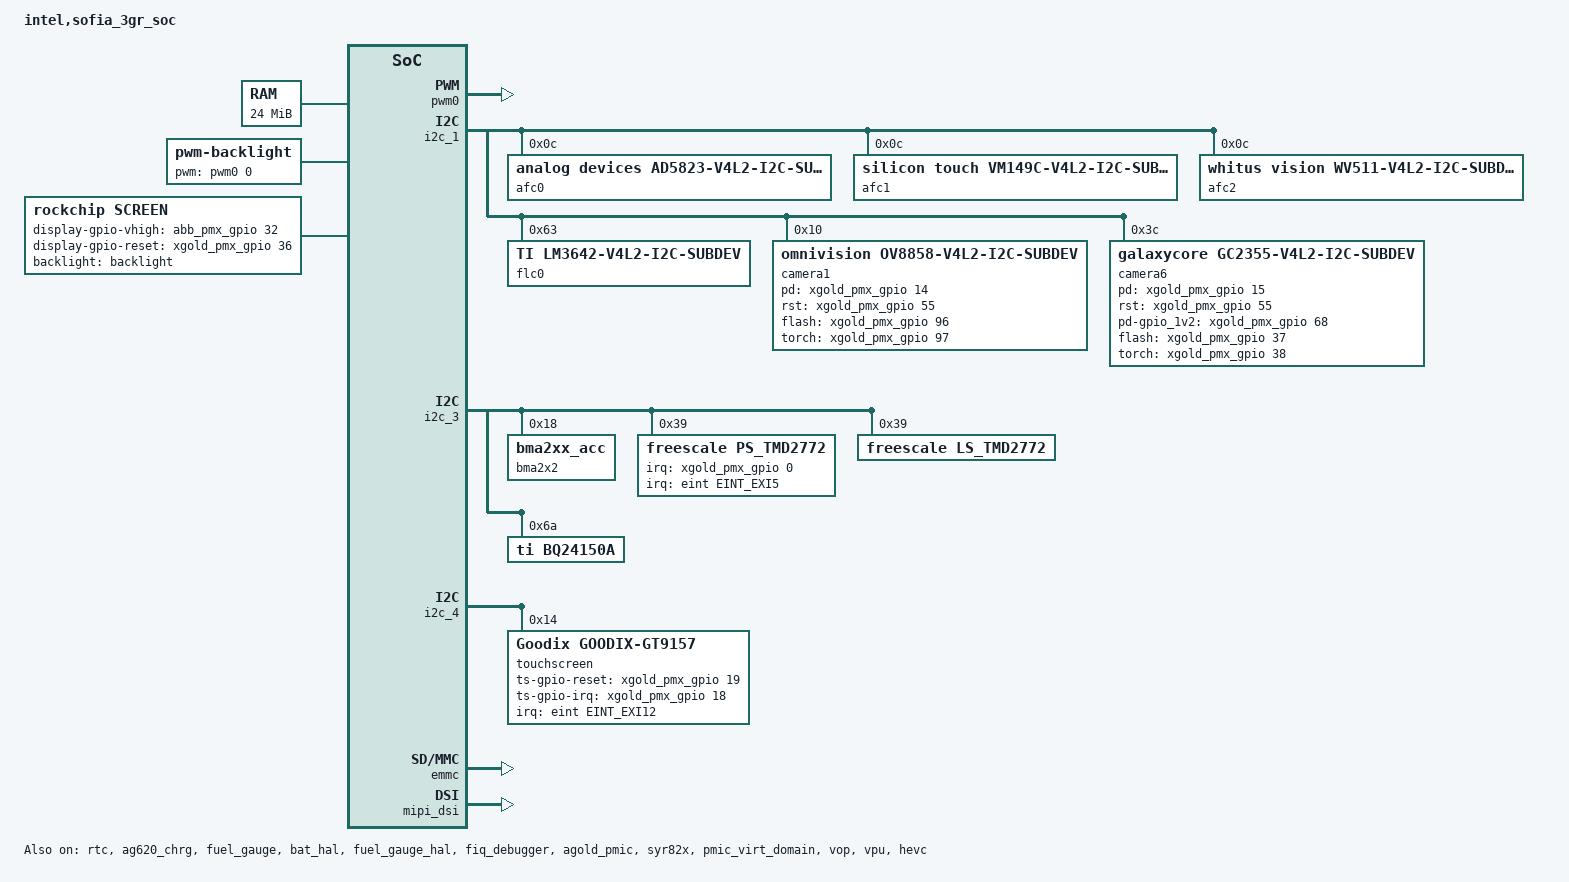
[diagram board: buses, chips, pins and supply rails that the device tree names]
/dts-v1/;


#include "xgold/sofia_3gr_soc/irq.h"
#include <dt-bindings/sensor-dev.h>
#include <dt-bindings/sofiafb/sofia_fb.h>

/ {
	#address-cells = <1>;
	#size-cells = <1>;
	model = "intel,sofia_3gr_soc";
	compatible = "intel,sofia_3gr_soc-svb", "intel,xgold";

	#include "xgold/sofia_3gr_soc/sofia_3gr_soc.dtsi"
	#include "xgold/sofia_3gr_soc/irq.dtsi"
	#include "xgold/mobilevisor/mobilevisor.dtsi"
	#include "xgold/sofia_3gr_soc/clock-es1.dtsi"
	#include "xgold/sofia_3gr_soc/regulator.dtsi"
	#include "xgold/sofia_3gr_soc/device-pm-reg.dtsi"
	#include "xgold/pmic/granite.dtsi"
	#include "xgold/sofia_3gr_soc/cpufreq.dtsi"
	#include "xgold/pmic/agold_pmic.dtsi"
	#include "xgold/pmic/syr82x.dtsi"
	#include "xgold/pmic/pmic_virt_domain.dtsi"
	chosen {
	};

	aliases {
	};

	memory {
		device_type = "memory";
		reg = <0x800000 0x1800000>;
	};

	reserved-memory {
		#address-cells = <1>;
		#size-cells = <1>;
		ranges;

		/* global autoconfigured region for contiguous allocations */
		cma_default_region: region@0 {
			size = <0x0A400000>;
			limit = <0x10000000>;
			linux,cma-default;
		};
	};

	vmodem {
		compatible = "intel,vmodem";
		reg = < 0x1D000000 0x02C00000 >;
	};

	ion {
		compatible = "rockchip,ion";
		#address-cells = <1>;
		#size-cells = <0>;
		cma-heap {
			memory-region = <&cma_default_region>;
			rockchip,ion_heap = <4>;
		};
		system-heap {
			rockchip,ion_heap = <0>;
		};
	};

	agold-keypad-bl {
		compatible = "intel,keypad-bl";
		reg = <0xE6501830 0x4>;
		default-brightness-level = <128>;
		status = "disabled";
	};
	
	backlight: pwm-backlight {
                compatible = "pwm-backlight";
		brightness-levels = <
			255 244 244 244 244 244 244 244 244 244 244 244 244 244 244 244 244 244 244 244
			244 244 244 244 243 243 242 242 241 241 240 240 239 239 238 238 237 237 236 236
			235 235 234 234 233 233 232 232 231 231 230 230 229 229 228 228 227 227 227 226
			226 226 225 225 225 224 224 224 223 223 223 222 222 222 221 221 221 220 220 220
			219 219 219 218 218 218 217 217 217 216 216 216 215 215 215 214 214 214 213 213
			213 212 212 212 211 211 211 210 210 210 209 209 209 208 208 208 207 207 207 206
			206 206 205 205 205 204 204 204 203 203 203 202 202 202 201 201 201 200 200 200
			199 199 199 198 198 198 197 197 197 196 196 196 195 195 195 194 194 194 193 193
			193 192 192 192 191 191 191 190 190 190 189 189 189 188 188 188 187 187 187 186
			186 186 185 185 185 184 184 184 183 183 183 182 182 182 181 181 181 180 180 180
			179 179 179 178 178 178 177 177 177 176 176 175 175 174 174 173 173 172 172 171
			171 170 170 169 169 168 168 167 167 166 166 165 165 164 164 163 163 162 162 161
			161 160 160 159 159 158 158 157 157 156 156 155 155 154 154 153>;

                default-brightness-level = <128>;
                /*enable-gpios = <&abb_pmx_gpio 32 0>;*/
                pinctrl-names = "default", "sleep", "inactive";
                pinctrl-0 = <&led_agold_default_pins>;
                pinctrl-1 = <&led_agold_sleep_pins>;
                pinctrl-2 = <&led_agold_inactive_pins>;
                pwms = <&pwm0 0 25000 PWM_POLARITY_INVERTED>;
        };
	hallsensor {
		compatible = "hall_och165t";
	  	interrupt-parent = <&eint>;
	  	interrupts = <EINT_EXI11 XGOLD_IRQ_TYPE_EDGE_FALLING>;
	  	pinctrl-names = "default", "sleep", "inactive";
	  	pinctrl-0 = <&hall_default_pins>;
	  	pinctrl-1 = <&hall_sleep_pins>;
	  	pinctrl-2 = <&hall_inactive_pins>;
		irq-gpio = <&xgold_pmx_gpio 32 IRQ_TYPE_LEVEL_LOW>;
		status = "disabled";
	};

	fb {
		compatible = "rockchip,fb";
		rockchip,disp-mode = <NO_DUAL>;
		rockchip,loader-logo-on = <1>;
		rockchip,ion-drv = "rockchip";
	};

	loader-charge {
		compatible = "rockchip,loader-charge";
		rockchip,loader-charge-on = <1>;
		rockchip,loader-weak-volt = <3550>;
		rockchip,loader-weak-volt-dcp = <3750>;
		rockchip,loader-weak-volt-sdp = <3600>;
		rockchip,android-charge-on = <1>;
	};

	screen {
		compatible = "rockchip,screen","intel,screen";
		pm,class-name = "generic_class";
		pm,user-name = "lcd";
		pm,state-D0 = "enable";
		pm,state-D3 = "disable";
		backlight = <&backlight>;
		intel,display-gpio-vhigh = <&abb_pmx_gpio 32 0>;
		intel,display-gpio-reset = <&xgold_pmx_gpio 36 0>;

		#include "xgold/display/lcd-mipi_otm1287a_auo_lp055apkp153a.dtsi"
	};

	chrg_det: chrg_det {
		compatible = "sofia,chrg_det";
		status = "okay";
		sofia,fuel_gauge = <&fuel_gauge>;
	};

#ifndef RECOVERY_KERNEL
	sound {
		compatible = "intel,xgold-snd-asoc";
		intel,audio-codec = < &afe >;
		intel,pcm-audio = <&pcm_music>;
		intel,pcm-voice = <&pcm_voice>;
		intel,speech = <&speech_probe>;
		intel,jack = <&headset>;
	};
#endif

};
&cpufreq {
	        intel,cpufreq-table-v1 = <416000 728000 900000 1040000>;
                intel,voltage-table-v1 = <950000 1100000 1150000 1200000>;
                intel,cpufreq-table-v2 = <416000 728000 800000  900000 1040000>;
                intel,voltage-table-v2 = <900000 1000000 1050000 1100000 1150000>;
};
&gpufreq {
	intel,gpufreq-table = <104000 312000 416000 416000>;
	intel,voltage-table = <1150000 1150000 1150000 1150000>;
};
&idi_per {
	#include "xgold/agold620/agold620.dtsi"
};
&rtc {
	status = "okay";
};
&ag620_chrg {
	status = "okay";
};
&fuel_gauge {
	status = "okay";
};
&bat_hal {
	status = "okay";
	#define BAT_TYPE_LC 0
	#define POWER_SUPPLY_TECHNOLOGY_LION 2

	supp_batids =  < 0 BAT_TYPE_LC >;

	supp_batids-map = "standrd";

	prof-standrd = < POWER_SUPPLY_TECHNOLOGY_LION /*battery_type*/
				  2100 /*capacity*/
				  4250 /*voltage_max*/
				  82 /*chrg_term_ma*/
				  3000 /*low_batt_mv*/
				  60 /*disch_tmp_ul*/
				  0xffffffec /*disch_tmp_ll (-20)*/
				  0 /*min_temp*/
				  3 /*min_temp_restart*/
				  42 /*max_temp_restart*/ >;

	prof-standrd-cap_to_vbat_ocv = <
		3521 3540 3592 3632 3656 3664 3666 3668 3669 3670
		3671 3673 3675 3679 3688 3696 3702 3709 3716 3720
		3723 3726 3729 3732 3736 3739 3742 3744 3746 3748
		3750 3754 3757 3759 3762 3763 3765 3767 3769 3771
		3774 3776 3779 3782 3784 3787 3790 3793 3797 3800
		3803 3807 3810 3812 3814 3820 3827 3834 3842 3848
		3855 3863 3870 3878 3887 3895 3903 3912 3921 3930
		3939 3949 3958 3968 3978 3988 3998 4008 4019 4029
		4039 4050 4061 4071 4082 4093 4103 4114 4124 4135
		4145 4156 4166 4176 4186 4196 4206 4215 4224 4233
		4242 >;


	prof-standrd-ntemp_ranges = <1>;

	prof-standrd-temp_range0 = < 45 /*max_temp*/
					     4160 /*full_chrg_vol*/
					     850 /*full_chrg_cur*/
					     98 /*charging_res_cap*/
					     4160 /*maint_chrg_vol_ul*/
					     850 /*maint_chrg_cur*/ >;

	nprofiles = <1>;
};
&brown_out {
	status = "okay";
};
&fuel_gauge_hal {
	status = "okay";
	sense_resistor_mohm = <20>;
	gain_error_1_uc_per_mc = <30>;
	gain_error_2_uc_per_mc = <30>;
};

&vibrator {
	loader_vibrator_time = <90>;
	loader_vibrator_intensity = <100>;
};

&abb_pmx_gpio {
       intel,gpiochip-base = <107>;
};

&usif1 {
	pinctrl-names = "default", "sleep", "inactive";
	pinctrl-0 = <&usif1_function_C_active_pins>;
	pinctrl-1 = <&usif1_function_C_sleep_pins>;
	pinctrl-2 = <&usif1_function_C_inactive_pins>;
	status = "disabled";
};

&usif2 {
	pinctrl-names = "default", "sleep", "inactive";
	pinctrl-0 = <&usif2_default_pins>;
	pinctrl-1 = <&usif2_sleep_pins>;
	pinctrl-2 = <&usif2_inactive_pins>;
	status = "disabled";
};

&fiq_debugger {
	status = "okay";
};

&pwm0 {
	pinctrl-names = "default", "sleep", "inactive";
	pinctrl-0 = <&pwm0_default_pins>;
	pinctrl-1 = <&pwm0_sleep_pins>;
	pinctrl-2 = <&pwm0_inactive_pins>;
	status = "okay";
};

/* xuhf@rock-chips.com: modify dts for Compatibling with a variety of cameras */
&i2c_1 {
	status = "okay";
	pinctrl-names = "default", "sleep", "inactive";
	pinctrl-0 = <&i2c1_default_pins>;
	pinctrl-1 = <&i2c1_sleep_pins>;
	pinctrl-2 = <&i2c1_inactive_pins>;

#ifndef RECOVERY_KERNEL
	afc0: af-controller@0 {
		//status = "disabled";
		compatible = "analog devices,ad5823-v4l2-i2c-subdev";
		reg = < 0x0C >;
	};

	afc1: af-controller@1 {
		//status = "disabled";
		compatible = "silicon touch,vm149C-v4l2-i2c-subdev";
		reg = < 0x0c >;
	};

	afc1: af-controller@1 {
		//status = "disabled";
		compatible = "silicon touch,vm149C-v4l2-i2c-subdev";
		reg = < 0x0c >;
	};

	afc2: af-controller@2 {
		//status = "disabled";
		compatible = "whitus vision,wv511-v4l2-i2c-subdev";
		reg = < 0x0C >;
	};
#endif

#ifndef RECOVERY_KERNEL
	flc0:fl-controller@0 {
		//status = "disabled";
		compatible = "TI,lm3642-v4l2-i2c-subdev";
		reg = < 0x63 >;
	};
#endif

#ifndef RECOVERY_KERNEL
	camera0: camera-module@0 {
		status = "disabled";
		compatible = "omnivision,ov13850-v4l2-i2c-subdev";
		reg = < 0x10 >;/*addr is 0x6C when SID set 0,else is 0x20*/ 
		device_type = "v4l2-i2c-subdev";

		pinctrl-names = "default", "sleep", "inactive";
		pinctrl-0 = <&cam1_default_pins>;
		pinctrl-1 = <&cam1_sleep_pins>;
		pinctrl-2 = <&cam1_inactive_pins>;

		intel,pd-gpio = <&xgold_pmx_gpio 14 0>;
		intel,pd-gpio-is_active_high;
		intel,rst-gpio = <&xgold_pmx_gpio 55 0>;
		intel,rst-gpio-is_active_high;
		intel,flash-gpio = <&xgold_pmx_gpio 96 0>;
		intel,torch-gpio = <&xgold_pmx_gpio 97 0>;

		pm,class-name = "generic_class";
		pm,user-name = "primcam";
		pm,state-D0 = "enable";
		pm,state-D3 = "disable";


		intel,camera-module-facing = "back";
		intel,camera-module-mounting = "landscape";
		intel,camera-module-flash-support = <1>;
		intel,camera-module-flash-exp-time = <5000>;

		//intel,af-ctrl = <&afc0>;
		intel,camera-module-csi-config-0 {
			intel,csi-pixels-per-second = <0>;
			intel,csi-vc = <0>;
			intel,csi-lanes = <2>;
			intel,csi-dphy1 = <0x2014203>;
			intel,csi-dphy2 = <0x00>;
			intel,csi-ana-bandgap-bias = <3>;
			intel,csi-used = <0>;
		};
		intel,camera-module-csi-config-1 {
			intel,csi-pixels-per-second = <100000000>;
			intel,csi-vc = <0>;
			intel,csi-lanes = <4>;
			intel,csi-dphy1 = <0x600e241>;
			intel,csi-dphy2 = <0x00>;
			intel,csi-ana-bandgap-bias = <3>;
			intel,csi-used = <0>;
		};
	};
#endif

#ifndef RECOVERY_KERNEL
	camera1: camera-module@1 {
		//status = "disabled";
		compatible = "omnivision,OV8858-v4l2-i2c-subdev";
		reg = < 0x10 >;/*addr is 0x6C when SID set 0,else is 0x20*/
		device_type = "v4l2-i2c-subdev";

		pinctrl-names = "default", "sleep", "inactive";
		pinctrl-0 = <&cam1_default_pins>;
		pinctrl-1 = <&cam1_sleep_pins>;
		pinctrl-2 = <&cam1_inactive_pins>;

		intel,pd-gpio = <&xgold_pmx_gpio 14 0>;
		intel,pd-gpio-is_active_high;
		intel,rst-gpio = <&xgold_pmx_gpio 55 0>;
		intel,rst-gpio-is_active_high;
		intel,flash-gpio = <&xgold_pmx_gpio 96 0>;
		intel,torch-gpio = <&xgold_pmx_gpio 97 0>;
		intel.flash-driver = "SGM3141";
		/*intel.flash-driver = "LM3642";*/
		/*intel,fl-ctrl = <&flc0>;*/
		

		pm,class-name = "generic_class";
		pm,user-name = "primcam";
		pm,state-D0 = "enable";
		pm,state-D3 = "disable";

		intel,camera-module-facing = "back";
		intel,camera-module-mounting = "landscape";
		intel,camera-module-flash-support = <1>;
		intel,camera-module-flash-exp-time = <5000>;
		rockchip,camera-module-name = "cmk-cb0832-fv3";
		rockchip,camera-module-len-name = "lg40100a1";

		intel,af-ctrl = <&afc1>;
		intel,camera-module-csi-config-0 {
			intel,csi-pixels-per-second = <0>;
			intel,csi-vc = <0>;
			intel,csi-lanes = <4>;
			intel,csi-dphy1 = <0x610a203>;
			intel,csi-dphy2 = <0x00>;
			intel,csi-ana-bandgap-bias = <3>;
			intel,csi-used = <0>;
		};
	};
#endif

#ifndef RECOVERY_KERNEL
	camera2: camera-module@2 {
		status = "disabled";
		compatible = "omnivision,OV5648-v4l2-i2c-subdev";
		reg = < 0x36 >;/*addr is 0x6C when SID set 0,else is 0x20*/
		device_type = "v4l2-i2c-subdev";

		pinctrl-names = "default", "sleep", "inactive";
		pinctrl-0 = <&cam1_default_pins>;
		pinctrl-1 = <&cam1_sleep_pins>;
		pinctrl-2 = <&cam1_inactive_pins>;

		intel,pd-gpio = <&xgold_pmx_gpio 14 0>;
		intel,pd-gpio-is_active_high;
		intel,rst-gpio = <&xgold_pmx_gpio 55 0>;
		intel,rst-gpio-is_active_high;
		intel,flash-gpio = <&xgold_pmx_gpio 96 0>;
		intel,torch-gpio = <&xgold_pmx_gpio 97 0>;

		pm,class-name = "generic_class";
		pm,user-name = "primcam";
		pm,state-D0 = "enable";
		pm,state-D3 = "disable";

		intel,camera-module-facing = "back";
		intel,camera-module-mounting = "landscape";
		intel,camera-module-flash-support = <1>;
		intel,camera-module-flash-exp-time = <5000>;
		rockchip,camera-module-name = "cmk-cw1581-fv3";
		rockchip,camera-module-len-name = "m5001a";

		intel,af-ctrl = <&afc1>;
		intel,camera-module-csi-config-0 {
			intel,csi-pixels-per-second = <0>;
			intel,csi-vc = <0>;
			intel,csi-lanes = <2>;
			intel,csi-dphy1 = <0x6208203>;
			intel,csi-dphy2 = <0x00>;
			intel,csi-ana-bandgap-bias = <3>;
			intel,csi-used = <0>;
		};
	};
#endif

#ifndef RECOVERY_KERNEL
	camera3: camera-module@3 {
		status = "disabled";
		compatible = "superpix,sp2508-v4l2-i2c-subdev";
		reg = < 0x3c >;
		device_type = "v4l2-i2c-subdev";

		pinctrl-names = "default", "sleep", "inactive";
		pinctrl-0 = <&cam1_default_pins>;
		pinctrl-1 = <&cam1_sleep_pins>;
		pinctrl-2 = <&cam1_inactive_pins>;

		intel,pd-gpio = <&xgold_pmx_gpio 14 0>;
		intel,pd-gpio_1v2 = <&xgold_pmx_gpio 68 0>;
		intel,pd-gpio-is_active_low;
		intel,rst-gpio = <&xgold_pmx_gpio 55 0>;
		intel,rst-gpio-is_active_low;
		intel,flash-gpio = <&xgold_pmx_gpio 37 0>;
		intel,torch-gpio = <&xgold_pmx_gpio 38 0>;
		intel.flash-driver = "FP6773C";

		pm,class-name = "generic_class";
		pm,user-name = "primcam";
		pm,state-D0 = "enable";
		pm,state-D3 = "disable";

		/* ["front","back"] */
		intel,camera-module-facing = "back";
		/* ["landscape","landscape-flipped","portrait","portrait-flipped"] */
		intel,camera-module-mounting = "landscape";
		intel,camera-module-flash-support = <1>;
		intel,camera-module-flash-exp-time = <5000>;

		intel,camera-module-csi-config-0 {
			intel,csi-pixels-per-second = <0>;
			intel,csi-vc = <0>;
			intel,csi-lanes = <1>;
			intel,csi-dphy1 = <0x608a241>;
			intel,csi-dphy2 = <0x00>;
			intel,csi-ana-bandgap-bias = <3>;
			intel,csi-used = <0>;
		};
	};
#endif

#ifndef RECOVERY_KERNEL
	camera4: camera-module@4 {
		status = "disabled";
		compatible = "galaxycore,gc2155-v4l2-i2c-subdev";
		reg = < 0x3C >;/*addr is 0x6C when SID set 0,else is 0x20*/ 
		device_type = "v4l2-i2c-subdev";
		pinctrl-names = "default", "sleep", "inactive";
		pinctrl-0 = <&cam1_default_pins>;
		pinctrl-1 = <&cam1_sleep_pins>;
		pinctrl-2 = <&cam1_inactive_pins>;

		intel,pd-gpio = <&xgold_pmx_gpio 14 0>;
		intel,pd-gpio-is_active_low;
		intel,rst-gpio = <&xgold_pmx_gpio 55 0>;
		intel,rst-gpio-is_active_high;
		//intel,pd-gpio_1v2 = <&xgold_pmx_gpio 68 0>;
		intel,flash-gpio = <&xgold_pmx_gpio 37 0>;
		intel,torch-gpio = <&xgold_pmx_gpio 38 0>;

		pm,class-name = "generic_class";
		pm,user-name = "primcam";
		pm,state-D0 = "enable";
		pm,state-D3 = "disable";

		/* ["front","back"] */
		intel,camera-module-facing = "back";
		/* ["landscape","landscape-flipped","portrait","portrait-flipped"] */
		intel,camera-module-mounting = "landscape";
		intel,camera-module-flash-support = <1>;
		intel,camera-module-flash-exp-time = <5000>;

		intel,camera-module-csi-config-0 {
			intel,csi-pixels-per-second = <0>;
			intel,csi-vc = <0>;
			intel,csi-lanes = <2>;
			intel,csi-dphy1 = <0x2014203>;
			intel,csi-dphy2 = <0x00>;
			intel,csi-ana-bandgap-bias = <3>;
			intel,csi-used = <0>;
		};
		intel,camera-module-csi-config-1 {
			intel,csi-pixels-per-second = <100000000>;
			intel,csi-vc = <0>;
			intel,csi-lanes = <4>;
			intel,csi-dphy1 = <0x600e241>;
			intel,csi-dphy2 = <0x00>;
			intel,csi-ana-bandgap-bias = <3>;
			intel,csi-used = <0>;
		};
	};
#endif

#ifndef RECOVERY_KERNEL
	camera5: camera-module@5 {
		status = "disabled";
		compatible = "omnivision,ov2680-v4l2-i2c-subdev";
		reg = < 0x36 >;/*addr is 0x6C when SID set 0,else is 0x20*/
		device_type = "v4l2-i2c-subdev";

		pinctrl-names = "default", "sleep", "inactive";
		pinctrl-0 = <&cam2_default_pins>;
		pinctrl-1 = <&cam2_sleep_pins>;
		pinctrl-2 = <&cam2_inactive_pins>;

		intel,pd-gpio = <&xgold_pmx_gpio 15 0>;
		intel,pd-gpio-is_active_high;
		intel,rst-gpio = <&xgold_pmx_gpio 55 0>;
		intel,rst-gpio-is_active_high;

		pm,class-name = "generic_class";
		pm,user-name = "seccam";
		pm,state-D0 = "enable";
		pm,state-D3 = "disable";

		intel,camera-module-facing = "front";
		intel,camera-module-mounting = "landscape";
		intel,camera-module-flash-support = <1>;
		intel,camera-module-flash-exp-time = <5000>;
		rockchip,camera-module-name = "cmk-cb0695-fv1";
		rockchip,camera-module-len-name = "cht835b";

		intel,camera-module-csi-config-0 {
			intel,csi-pixels-per-second = <0>;
			intel,csi-vc = <0>;
			intel,csi-lanes = <1>;
			intel,csi-dphy1 = <0x6284203>;
			intel,csi-dphy2 = <0x00>;
			intel,csi-ana-bandgap-bias = <3>;
			intel,csi-used = <1>;
		};

	};
#endif

#ifndef RECOVERY_KERNEL
	camera6: camera-module@6 {
		//status = "disabled";
		compatible = "galaxycore,gc2355-v4l2-i2c-subdev";
		reg = < 0x3C >;/*addr is 0x6C when SID set 0,else is 0x20*/
		device_type = "v4l2-i2c-subdev";
		pinctrl-names = "default", "sleep", "inactive";
		pinctrl-0 = <&cam2_default_pins>;
		pinctrl-1 = <&cam2_sleep_pins>;
		pinctrl-2 = <&cam2_inactive_pins>;

		intel,pd-gpio = <&xgold_pmx_gpio 15 0>;
		intel,pd-gpio-is_active_low;
		intel,rst-gpio = <&xgold_pmx_gpio 55 0>;
		intel,rst-gpio-is_active_high;
		intel,pd-gpio_1v2 = <&xgold_pmx_gpio 68 0>;
		intel,flash-gpio = <&xgold_pmx_gpio 37 0>;
		intel,torch-gpio = <&xgold_pmx_gpio 38 0>;

		pm,class-name = "generic_class";
		pm,user-name = "seccam";
		pm,state-D0 = "enable";
		pm,state-D3 = "disable";

		/* ["front","back"] */
		intel,camera-module-facing = "front";
		/* ["landscape","landscape-flipped","portrait","portrait-flipped"] */
		intel,camera-module-mounting = "landscape";
		intel,camera-module-flash-support = <1>;
		intel,camera-module-flash-exp-time = <5000>;
		rockchip,camera-module-name = "hrx4769x5c211";
		rockchip,camera-module-len-name = "m206a-201";

		intel,camera-module-csi-config-0 {
			intel,csi-pixels-per-second = <0>;
			intel,csi-vc = <0>;
			intel,csi-lanes = <1>;
			intel,csi-dphy1 = <0x6210203>;
			intel,csi-dphy2 = <0x00>;
			intel,csi-ana-bandgap-bias = <3>;
			intel,csi-used = <1>;
		};
	};
#endif

#ifndef RECOVERY_KERNEL
	camera7: camera-module@7 {
		status = "disabled";
		compatible = "galaxycore,gc0310-v4l2-i2c-subdev";
		reg = < 0x21 >;/* 7bit address*/
		device_type = "v4l2-i2c-subdev";

		pinctrl-names = "default", "sleep", "inactive";
		pinctrl-0 = <&cam2_default_pins>;
		pinctrl-1 = <&cam2_sleep_pins>;
		pinctrl-2 = <&cam2_inactive_pins>;

		intel,pd-gpio = <&xgold_pmx_gpio 15 0>;
		intel,pd-gpio-is_active_low;

		pm,class-name = "generic_class";
		pm,user-name = "seccam";
		pm,state-D0 = "enable";
		pm,state-D3 = "disable";

		intel,camera-module-facing = "front";
		/* ["landscape","landscape-flipped","portrait","portrait-flipped"] */
		intel,camera-module-mounting = "landscape";
		intel,camera-module-flash-support = <1>;
		intel,camera-module-flash-exp-time = <5000>;

		intel,camera-module-csi-config-0 {
			intel,csi-pixels-per-second = <0>;
			intel,csi-vc = <0>;
			intel,csi-lanes = <1>;
			intel,csi-dphy1 = <0x6012229>;
			intel,csi-dphy2 = <0x00>;
			intel,csi-ana-bandgap-bias = <3>;
			intel,csi-used = <1>;
		};
	};
#endif

#ifndef RECOVERY_KERNEL
	camera8: camera-module@8 {
		status = "disabled";
		compatible = "superpix,sp0a20-v4l2-i2c-subdev";
		reg = < 0x21 >;
		device_type = "v4l2-i2c-subdev";

		pinctrl-names = "default", "sleep", "inactive";
		pinctrl-0 = <&cam2_default_pins>;
		pinctrl-1 = <&cam2_sleep_pins>;
		pinctrl-2 = <&cam2_inactive_pins>;

		intel,rst-gpio = <&xgold_pmx_gpio 55 0>;
		intel,rst-gpio-is_active_high;
		intel,pd-gpio = <&xgold_pmx_gpio 15 0>;
		intel,pd-gpio-is_active_low;

		pm,class-name = "generic_class";
		pm,user-name = "seccam";
		pm,state-D0 = "enable";
		pm,state-D3 = "disable";

		intel,camera-module-facing = "front";
		/* ["landscape","landscape-flipped","portrait","portrait-flipped"] */
		intel,camera-module-mounting = "landscape";
		intel,camera-module-flash-support = <1>;
		intel,camera-module-flash-exp-time = <5000>;

		intel,camera-module-csi-config-0 {
			intel,csi-pixels-per-second = <0>;
			intel,csi-vc = <0>;
			intel,csi-lanes = <1>;
			intel,csi-dphy1 = <0x608a241>;
			intel,csi-dphy2 = <0x00>;
			intel,csi-ana-bandgap-bias = <3>;
			intel,csi-used = <1>;
		};
	};
#endif
};

&i2c_3 {
	status = "okay";
	pinctrl-names = "default", "sleep", "inactive";
	pinctrl-0 = <&i2c3_default_pins>;
	pinctrl-1 = <&i2c3_sleep_pins>;
	pinctrl-2 = <&i2c3_inactive_pins>;

	bma2x2 {
		compatible = "bma2xx_acc";
                reg = <0x18>;
                type = <SENSOR_TYPE_ACCEL>;
                irq_enable = <0>;
                poll_delay_ms = <100>;
                layout = <6>;
                pm,class-name = "gsensor_class";
                pm,user-name = "gyroscope";
               };
	ps_tmd2772 {
                compatible = "freescale,ps_tmd2772";
		reg = <0x39>;
          	type = <SENSOR_TYPE_PROXIMITY>;
	  	interrupt-parent = <&eint>;
	  	interrupts = < EINT_EXI5 XGOLD_IRQ_TYPE_LEVEL_LOW >;
	  	pinctrl-names = "default", "sleep", "inactive";
	  	pinctrl-0 = <&prox_default_pins>;
	  	pinctrl-1 = <&prox_sleep_pins>;
	  	pinctrl-2 = <&prox_inactive_pins>;           
		irq-gpio = <&xgold_pmx_gpio 0 IRQ_TYPE_LEVEL_LOW>;
		irq_enable = <1>;
		poll_delay_ms = <30>;
		ps_threshold_low = <120>;
		ps_threshold_high = <600>;
          	layout = <1>;
		pm,class-name = "ps_tmd2772_class";
                pm,user-name = "gyroscope";
        };
        ls_tmd2772 {
                compatible = "freescale,ls_tmd2772";
                reg = <0x39>;
                type = <SENSOR_TYPE_LIGHT>;
                irq_enable = <0>;
                poll_delay_ms = <200>;
                layout = <1>;
                pm,class-name = "ls_tmd2772_class";
                pm,user-name = "gyroscope";
        };

	bq24150a {
		status = "okay";
		compatible = "ti,bq24150a";
		reg = <0x6a>;
		ti,current-limit = <100>;
		ti,weak-battery-voltage = <3400>;
		ti,battery-regulation-voltage = <4250>;
		ti,charge-current = <1250>;
		ti,termination-current = <50>;
		ti,resistor-sense = <68>;

		ti,usb-charger-detection = <&chrg_det>;
		sofia,fuel_gauge = <&fuel_gauge>;
        };
};

&i2c_4 {
	status = "okay";
	pinctrl-names = "default", "sleep", "inactive";
	pinctrl-0 = <&i2c4_default_pins>;
	pinctrl-1 = <&i2c4_sleep_pins>;
	pinctrl-2 = <&i2c4_inactive_pins>;

	touchscreen {
		compatible = "Goodix,Goodix-gt9157";
		reg = < 0x14 >;
		interrupt-parent = <&eint>;
		interrupts = < EINT_EXI12 XGOLD_IRQ_TYPE_EDGE_FALLING >;
		pinctrl-names = "default", "sleep", "inactive";
		pinctrl-0 = <&touch_default_pins>;
		pinctrl-1 = <&touch_sleep_pins>;
		pinctrl-2 = <&touch_inactive_pins>;
		intel,ts-gpio-reset = <&xgold_pmx_gpio 19 0>;
		intel,ts-gpio-irq   = <&xgold_pmx_gpio 18 0>;
		pm,class-name = "gt9xx_class";
		pm,user-name = "tp";
		pm,state-D0 = "enable";
		pm,state-D3 = "disable";
	};
};

&i2c_5 {
	pinctrl-names = "default", "sleep", "inactive";
	pinctrl-0 = <&i2c5_agold_default_pins>;
	pinctrl-1 = <&i2c5_agold_sleep_pins>;
	pinctrl-2 = <&i2c5_agold_inactive_pins>;

};

&agold_pmic {
	status = "okay";
	agold_lmem_reg {
		regulator-name = "ag_lmem";
		regulator-domain = <PMIC_DOMAIN_LMEM>;
		regulator-init-pulldown = <PMIC_PULLDOWN_EN>;
		regulator-init-mode = <PMIC_MODE_OFF_STDBY>;
		regulator-init-voltage = <PMIC_VOLTAGE_1V226>;
	};
};

&syr82x {
	status = "okay";
};

&pmic_virt_domain {
	status = "okay";
	virt_domain {
		vddp_mmc_reg {
			virt-domain = <PMIC_VDDP_MMC>;
			pmu-domain = <PMIC_DOMAIN_LMMC1>;
		};

		vddp_mmc_td_reg {
			virt-domain = <PMIC_VDDP_MMC_TD>;
			pmu-domain = <PMIC_DOMAIN_NOTCFG>;
		};

		vdd_vemmc_reg {
			virt-domain = <PMIC_VDD_VEMMC>;
			pmu-domain = <PMIC_DOMAIN_NOTCFG>;
		};

		vdd_sdio_reg {
			virt-domain = <PMIC_VDD_SDIO>;
			pmu-domain = <PMIC_DOMAIN_NOTCFG>;
		};

		vdd_touchscreen_reg {
			virt-domain = <PMIC_VDD_TOUCHSCREEN>;
			pmu-domain = <PMIC_DOMAIN_NOTCFG>;
		};

		vdd_emic_1v8_io_reg {
			virt-domain = <PMIC_VDD_EMIC_1V8_IO>;
			pmu-domain = <PMIC_DOMAIN_NOTCFG>;
		};

		vdd_mipi_csi_reg {
			virt-domain = <PMIC_VDD_MIPI_CSI>;
			pmu-domain = <PMIC_DOMAIN_NOTCFG>;
		};

		vdd_mipi_dsi_reg {
			virt-domain = <PMIC_VDD_MIPI_DSI>;
			pmu-domain = <PMIC_DOMAIN_LMIPI>;
		};

		vdd_digrf1_reg {
			virt-domain = <PMIC_VDD_DIGRF1>;
			pmu-domain = <PMIC_DOMAIN_LMIPI>;
		};

		vdd_usb_1v1_reg {
			virt-domain = <PMIC_VDD_USB_1V1>;
			pmu-domain = <PMIC_DOMAIN_LAIF>;
		};

		vdd_emic_core_reg {
			virt-domain = <PMIC_VDD_EMIC_CORE>;
			pmu-domain = <PMIC_DOMAIN_NOTCFG>;
		};

		vdd_emic_dll_reg {
			virt-domain = <PMIC_VDD_EMIC_DLL>;
			pmu-domain = <PMIC_DOMAIN_NOTCFG>;
		};

		vdd_idi_rx_reg {
			virt-domain = <PMIC_VDD_IDI_RX>;
			pmu-domain = <PMIC_DOMAIN_LAIF>;
		};

		vdd_usb_3v3_reg {
			virt-domain = <PMIC_VDD_USB_3V3>;
			pmu-domain = <PMIC_DOMAIN_LUSB>;
		};

		vddp_sim_reg {
			virt-domain = <PMIC_VDDP_SIM>;
			pmu-domain = <PMIC_DOMAIN_LSIM1>;
		};

		vddp_sim2_reg {
			virt-domain = <PMIC_VDDP_SIM2>;
			pmu-domain = <PMIC_DOMAIN_LSIM2>;
		};

		vdd_pll_reg {
			virt-domain = <PMIC_VDD_PLL>;
			pmu-domain = <PMIC_DOMAIN_LPLL>;
		};

		vdd_io_volt_touch_sensor_reg {
			virt-domain = <PMIC_VDD_IO_VOLT_TOUCH_SENSOR>;
			pmu-domain = <PMIC_DOMAIN_NOTCFG>;
		};

		vdd_io_volt_proximity_sensor_reg {
			virt-domain = <PMIC_VDD_IO_VOLT_PROXIMITY_SENSOR>;
			pmu-domain = <PMIC_DOMAIN_NOTCFG>;
		};

		vdd_io_volt_accelerometer_reg{
			virt-domain = <PMIC_VDD_IO_VOLT_ACCELEROMETER>;
			pmu-domain = <PMIC_DOMAIN_NOTCFG>;
		};

		vdd_io_volt_magnetometer_reg {
			virt-domain = <PMIC_VDD_IO_VOLT_MAGNETOMETER>;
			pmu-domain = <PMIC_DOMAIN_NOTCFG>;
		};

		vdd_io_volt_gyroscope_reg {
			virt-domain = <PMIC_VDD_IO_VOLT_GYROSCOPE>;
			pmu-domain = <PMIC_DOMAIN_NOTCFG>;
		};

		vdd_cam_prim_analog_reg {
			virt-domain = <PMIC_VDD_CAM_PRIM_ANALOG>;
			pmu-domain = <PMIC_DOMAIN_LAUX1>;
		};

		vdd_cam_sec_analog_reg {
			virt-domain = <PMIC_VDD_CAM_SEC_ANALOG>;
			pmu-domain = <PMIC_DOMAIN_LAUX1>;
		};

		vdd_prim_display_reg {
			virt-domain = <PMIC_VDD_PRIM_DISPLAY>;
			pmu-domain = <PMIC_DOMAIN_NOTCFG>;
		};

		vdd_touch_sensor_reg {
			virt-domain = <PMIC_VDD_TOUCH_SENSOR>;
			pmu-domain = <PMIC_DOMAIN_NOTCFG>;
		};

		vdd_proximity_sensor_reg {
			virt-domain = <PMIC_VDD_PROXIMITY_SENSOR>;
			pmu-domain = <PMIC_DOMAIN_LAUX2>;
		};

		vdd_accelerometer_reg {
			virt-domain = <PMIC_VDD_ACCELEROMETER>;
			pmu-domain = <PMIC_DOMAIN_LAUX2>;
		};

		vdd_magnetometer_reg {
			virt-domain = <PMIC_VDD_MAGNETOMETER>;
			pmu-domain = <PMIC_DOMAIN_LAUX2>;
		};

		vdd_gyroscope_reg {
			virt-domain = <PMIC_VDD_GYROSCOPE>;
			pmu-domain = <PMIC_DOMAIN_LAUX2>;
		};

		vdd_emic_io_reg {
			virt-domain = <PMIC_VDD_EMIC_IO>;
			pmu-domain = <PMIC_DOMAIN_LMEM>;
		};

		vdd_abb_gnss_tcxo_ldo_reg {
			virt-domain = <PMIC_VDD_ABB_GNSS_TCXO_LDO>;
			pmu-domain = <PMIC_DOMAIN_GNSS_TCXO_LDO>;
		};

		vddp_vemmc_p_reg {
			virt-domain = <PMIC_VDDP_VEMMC_P>;
			pmu-domain = <PMIC_DOMAIN_NOTCFG>;
		};

		vdd_cam_prim_digital_reg {
			virt-domain = <PMIC_VDD_CAM_PRIM_DIGITAL>;
			pmu-domain = <PMIC_DOMAIN_NOTCFG>;
		};

		vdd_cam_prim_io_reg {
			virt-domain = <PMIC_VDD_CAM_PRIM_IO>;
			pmu-domain = <PMIC_DOMAIN_LAUX2>;
		};

		vdd_cam_prim_af_reg {
			virt-domain = <PMIC_VDD_CAM_PRIM_AF>;
			pmu-domain = <PMIC_DOMAIN_NOTCFG>;
		};

		vdd_cam_sec_digital_reg {
			virt-domain = <PMIC_VDD_CAM_SEC_DIGITAL>;
			pmu-domain = <PMIC_DOMAIN_NOTCFG>;
		};

		vdd_cam_sec_io_reg {
			virt-domain = <PMIC_VDD_CAM_SEC_IO>;
			pmu-domain = <PMIC_DOMAIN_LAUX2>;
		};

		vdd_cam_sec_af_reg {
			virt-domain = <PMIC_VDD_CAM_SEC_AF>;
			pmu-domain = <PMIC_DOMAIN_NOTCFG>;
		};

		vdd_prim_disp_backlight_reg {
			virt-domain = <PMIC_VDD_PRIM_DISP_BACKLIGHT>;
			pmu-domain = <PMIC_DOMAIN_NOTCFG>;
		};

		vdd_sd_card_reg {
			virt-domain = <PMIC_VDD_SD_CARD>;
			pmu-domain = <PMIC_DOMAIN_NOTCFG>;
		};

		vdd_emmc_reg {
			virt-domain = <PMIC_VDD_EMMC>;
			pmu-domain = <PMIC_DOMAIN_NOTCFG>;
		};

		vdd_vcpu_reg {
			virt-domain = <PMIC_VDD_VCPU>;
			pmu-domain = <PMIC_DOMAIN_SYR827_VSEL0>;
		};

		vdd_lvds_1v8_reg {
			virt-domain = <PMIC_VDD_LVDS_1V8>;
			pmu-domain = <PMIC_DOMAIN_NOTCFG>;
		};

		vdd_h_5v_reg {
			virt-domain = <PMIC_VDD_H_5V>;
			pmu-domain = <PMIC_DOMAIN_NOTCFG>;
		};

		vdd_h_3v3_reg {
			virt-domain = <PMIC_VDD_H_3V3>;
			pmu-domain = <PMIC_DOMAIN_NOTCFG>;
		};

		vdd_gpu_reg {
			virt-domain = <PMIC_VDD_GPU>;
			pmu-domain = <PMIC_DOMAIN_SYR828_VSEL0>;
		};

		vdd_emic_reg_reg {
			virt-domain = <PMIC_VDD_EMIC_RET>;
			pmu-domain = <PMIC_DOMAIN_NOTCFG>;
		};

		vdd_lcd_dsi_reg {
			virt-domain = <PMIC_VDD_LCD_DSI>;
			pmu-domain = <PMIC_DOMAIN_NOTCFG>;
		};

		vdd_gps_2v5_reg {
			virt-domain = <PMIC_VDD_GPS_2V5>;
			pmu-domain = <PMIC_DOMAIN_NOTCFG>;
		};

		vdd_dif_lcd_rgb_reg {
			virt-domain = <PMIC_VDD_DIF_LCD_RGB>;
			pmu-domain = <PMIC_DOMAIN_NOTCFG>;
		};

		vdd_deprecated_reg {
			virt-domain = <PMIC_VDD_DEPRECATED>;
			pmu-domain = <PMIC_DOMAIN_NOTCFG>;
		};
	};
};

&gnss {
    pinctrl-names = "default", "sleep", "inactive", "default_lna", "inactive_lna", "default_fta", "inactive_fta", "gnss_default", "gnss_inactive";
    pinctrl-0 = <&tcxo_agold_default_pins>;
    pinctrl-1 = <&tcxo_agold_sleep_pins>;
    pinctrl-2 = <&tcxo_agold_inactive_pins>;
    pinctrl-3 = <&ext_agold_default_pins>;
    pinctrl-4 = <&ext_agold_sleep_pins>;
    pinctrl-5 = <&gnss_agold_default_pins>;
    pinctrl-6 = <&gnss_agold_sleep_pins>;
    pinctrl-7 = <&gnss_default_pins>;
    pinctrl-8 = <&gnss_inactive_pins>;
};

#ifndef RECOVERY_KERNEL
&afe {
	pinctrl-names = "default", "sleep", "inactive";
	pinctrl-0 = <&dm_agold_default_pins>;
	pinctrl-1 = <&dm_agold_sleep_pins>;
	pinctrl-2 = <&dm_agold_inactive_pins>;
};
#endif

&sd {
	intel,tap_values = <0x080400F5 0x08040004 0x00040004 0x08040004 0x5CF501A5 0x00F500A5 0x00F500A5>;
	pinctrl-names = "default", "sleep", "inactive";
	pinctrl-0 = <&sdmmc_default_pins>;
	pinctrl-1 = <&sdmmc_sleep_pins>;
	pinctrl-2 = <&sdmmc_inactive_pins>;
};

&emmc {
	intel,tap_values = <0x080400F5 0x08040004 0x00040004 0x08040004 0x08040004 0x000400B5 0x000400B5>;
	pinctrl-names = "default", "sleep", "inactive";
	pinctrl-0 = <&emmc_default_pins>;
	pinctrl-1 = <&emmc_sleep_pins>;
	pinctrl-2 = <&emmc_inactive_pins>;
	status = "okay";
};

&nand {
	pinctrl-names = "default", "sleep", "inactive";
	pinctrl-0 = <&nand_function_B_active_pins>;
	pinctrl-1 = <&nand_function_B_sleep_pins>;
	pinctrl-2 = <&nand_function_B_inactive_pins>;
        status = "disabled";
};

&keypad {
	pinctrl-names = "default", "sleep", "inactive";
	pinctrl-0 = <&kp_default_pins>;
	pinctrl-1 = <&kp_sleep_pins>;
	pinctrl-2 = <&kp_inactive_pins>;
	keypad,num-rows = <4>;
	keypad,num-columns = <8>;
	keypad,rows = <3>;
	keypad,columns = <3 4>;
	linux,keymap = <0x03030072	/* KEY_VOLUMEDOWN */
			0x03040073>;	/* KEY_VOLUMEUP */
	keypad,kp_in1 = <116>;	/*KEY_POWER*/	
	keypad,kp_in3 = <114>; /*KEY_VOLUMEDOWN*/
	keypad,kp_in4 = <115>; /*KEY_VOLUMEUP*/
};

&lvds {
	status = "disabled";

	pinctrl-names = "default", "sleep", "inactive";
	pinctrl-0 = <&lvds_default_pins>;
	pinctrl-1 = <&lvds_sleep_pins>;
	pinctrl-2 = <&lvds_inactive_pins>;
};

&mipi_dsi {
	status = "okay";
};

&vop {
	status = "okay";
	rockchip,fb-win-map = <FB_DEFAULT_ORDER>;
	rockchip,iommu-enabled = <1>;
	uhigh_perf_freq = <297000000>;
};

#ifndef RECOVERY_KERNEL
&cif {
	intel,camera-modules-attached = <&camera0 &camera1 &camera2 &camera3 &camera4 &camera5 &camera6 &camera7 &camera8>;
}; /* xuhf@rock-chips.com: modify dts for Compatibling with a variety of cameras */
#endif
#ifndef RECOVERY_KERNEL
&vpu {
	status = "okay";
};
#endif
#ifndef RECOVERY_KERNEL
&hevc {
	status = "okay";
};
#endif
#include "xgold/agold620/pinctrl-ag620-sf_3gr-svb.dtsi"
#include "xgold/sofia_3gr_soc/pinctrl-sf_3gr-phone-rk.dtsi"
&sdmmc_default_pins{
        pinctrl-single,pins = <
                0x294 0x3011    /* sdmmc_cmd */
                0x298 0x3011    /* sdmmc_dat0 */
                0x29c 0x3011    /* sdmmc_dat1 */
                0x2a0 0x3011    /* sdmmc_dat2 */
                0x2a4 0x3011    /* sdmmc_dat3 */
                0x2a8 0x1011    /* sdmmc_clk */
                0x2ac 0x4001    /* sdmmc_card_detect */
        >;
};
